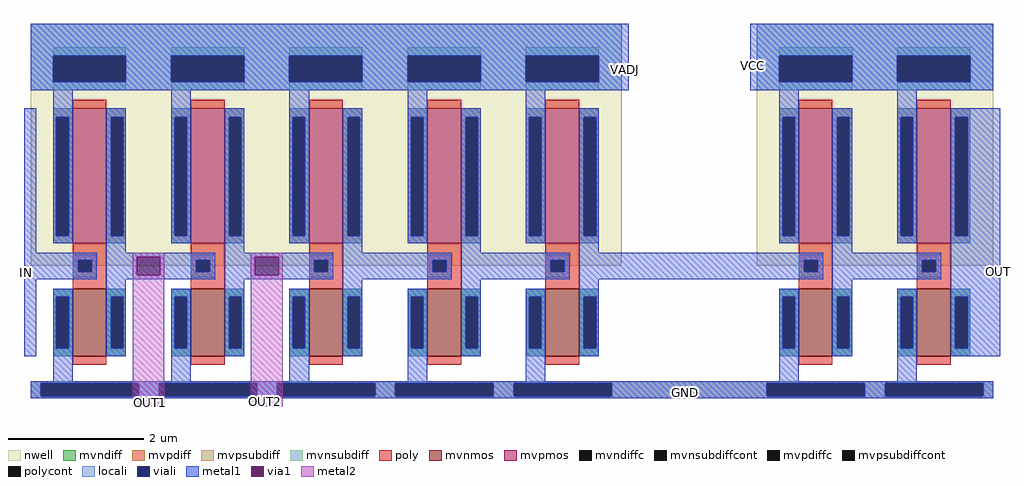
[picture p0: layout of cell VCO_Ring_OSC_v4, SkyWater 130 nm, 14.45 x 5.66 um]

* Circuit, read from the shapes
.subckt VCO_Ring_OSC_v4 GND IN OUT OUT1 OUT2 VADJ VCC
XM1 OUT1 IN GND GND sky130_fd_pr__nfet_g5v0d10v5 w=1 l=0.5
XM2 OUT2 OUT1 GND GND sky130_fd_pr__nfet_g5v0d10v5 w=1 l=0.5
XM3 inverter3v3_3/IN OUT2 GND GND sky130_fd_pr__nfet_g5v0d10v5 w=1 l=0.5
XM4 inverter3v3_4/IN inverter3v3_3/IN GND GND sky130_fd_pr__nfet_g5v0d10v5 w=1 l=0.5
XM5 inverter3v3_5/IN inverter3v3_4/IN GND GND sky130_fd_pr__nfet_g5v0d10v5 w=1 l=0.5
XM6 inverter3v3_6/IN inverter3v3_5/IN GND GND sky130_fd_pr__nfet_g5v0d10v5 w=1 l=0.5
XM7 OUT inverter3v3_6/IN GND GND sky130_fd_pr__nfet_g5v0d10v5 w=1 l=0.5
XM8 OUT1 IN VADJ VADJ sky130_fd_pr__pfet_g5v0d10v5 w=2 l=0.5
XM9 OUT2 OUT1 VADJ VADJ sky130_fd_pr__pfet_g5v0d10v5 w=2 l=0.5
XM10 inverter3v3_3/IN OUT2 VADJ VADJ sky130_fd_pr__pfet_g5v0d10v5 w=2 l=0.5
XM11 inverter3v3_4/IN inverter3v3_3/IN VADJ VADJ sky130_fd_pr__pfet_g5v0d10v5 w=2 l=0.5
XM12 inverter3v3_5/IN inverter3v3_4/IN VADJ VADJ sky130_fd_pr__pfet_g5v0d10v5 w=2 l=0.5
XM13 inverter3v3_6/IN inverter3v3_5/IN VCC VCC sky130_fd_pr__pfet_g5v0d10v5 w=2 l=0.5
XM14 OUT inverter3v3_6/IN VCC VCC sky130_fd_pr__pfet_g5v0d10v5 w=2 l=0.5
.ends

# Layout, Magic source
magic
tech sky130A
<< mvpsubdiff >>
rect 875 0 1075 25
<< locali >>
rect 875 0 1075 25
<< metal1 >>
rect 875 456 885 554
rect 1065 456 1075 554
rect -10 62 8 429
rect 875 176 1075 215
rect 1391 62 1435 429
rect 875 0 1075 25
<< via1 >>
rect 157 182 192 209
rect 332 182 367 209
<< metal2 >>
rect 151 209 198 215
rect 151 182 157 209
rect 192 182 198 209
rect 151 -12 198 182
rect 326 209 373 215
rect 326 182 332 209
rect 367 182 373 209
rect 326 -12 373 182
use inverter3v3  inverter3v3_3
transform 1 0 525 0 1 0
box 0 0 175 554
use inverter3v3  inverter3v3_2
transform 1 0 350 0 1 0
box 0 0 175 554
use inverter3v3  inverter3v3_1
transform 1 0 175 0 1 0
box 0 0 175 554
use inverter3v3  inverter3v3_0
transform 1 0 0 0 1 0
box 0 0 175 554
use inverter3v3  inverter3v3_4
transform 1 0 700 0 1 0
box 0 0 175 554
use inverter3v3  inverter3v3_5
transform 1 0 1075 0 1 0
box 0 0 175 554
use inverter3v3  inverter3v3_6
transform 1 0 1250 0 1 0
box 0 0 175 554
<< labels >>
rlabel metal1 1433 187 1433 187 7 OUT
rlabel metal1 969 8 969 8 1 GND
rlabel metal1 1069 492 1069 492 1 VCC
rlabel metal1 881 487 881 487 1 VADJ
rlabel metal2 178 -7 178 -7 1 OUT1
rlabel metal2 348 -5 348 -5 1 OUT2
rlabel metal1 -7 186 -7 186 3 IN
<< end >>

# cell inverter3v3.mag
magic
tech sky130A
<< nwell >>
rect 0 196 175 554
<< mvnmos >>
rect 62 62 112 162
<< mvpmos >>
rect 62 229 112 429
<< mvndiff >>
rect 33 150 62 162
rect 33 74 38 150
rect 56 74 62 150
rect 33 62 62 74
rect 112 150 141 162
rect 112 74 119 150
rect 137 74 141 150
rect 112 62 141 74
<< mvpdiff >>
rect 33 416 62 429
rect 33 240 38 416
rect 56 240 62 416
rect 33 229 62 240
rect 112 416 141 429
rect 112 240 119 416
rect 137 240 141 416
rect 112 229 141 240
<< mvndiffc >>
rect 38 74 56 150
rect 119 74 137 150
<< mvpdiffc >>
rect 38 240 56 416
rect 119 240 137 416
<< mvpsubdiff >>
rect 0 22 175 25
rect 0 3 15 22
rect 160 3 175 22
rect 0 0 175 3
<< mvnsubdiff >>
rect 33 507 141 519
rect 33 456 141 468
<< mvpsubdiffcont >>
rect 15 3 160 22
<< mvnsubdiffcont >>
rect 33 468 141 507
<< poly >>
rect 62 429 112 442
rect 62 204 112 229
rect 62 187 70 204
rect 90 187 112 204
rect 62 162 112 187
rect 62 49 112 62
<< polycont >>
rect 70 187 90 204
<< locali >>
rect 0 507 175 554
rect 0 468 33 507
rect 141 468 175 507
rect 0 456 175 468
rect 33 416 62 429
rect 33 240 38 416
rect 56 240 62 416
rect 33 229 62 240
rect 112 416 141 429
rect 112 240 119 416
rect 137 240 141 416
rect 112 229 141 240
rect 62 204 98 212
rect 62 187 70 204
rect 90 187 98 204
rect 62 179 98 187
rect 33 150 62 162
rect 33 74 38 150
rect 56 74 62 150
rect 33 62 62 74
rect 112 150 141 162
rect 112 74 119 150
rect 137 74 141 150
rect 112 62 141 74
rect 0 22 175 25
rect 0 3 15 22
rect 160 3 175 22
rect 0 0 175 3
<< viali >>
rect 33 468 141 507
rect 38 240 56 416
rect 119 240 137 416
rect 70 187 90 204
rect 38 74 56 150
rect 119 74 137 150
rect 15 3 160 22
<< metal1 >>
rect 0 507 175 554
rect 0 468 33 507
rect 141 468 175 507
rect 0 456 175 468
rect 33 416 62 456
rect 33 240 38 416
rect 56 240 62 416
rect 33 229 62 240
rect 112 416 141 429
rect 112 240 119 416
rect 137 240 141 416
rect 112 215 141 240
rect 0 204 98 215
rect 0 187 70 204
rect 90 187 98 204
rect 0 176 98 187
rect 112 176 175 215
rect 33 150 62 162
rect 33 74 38 150
rect 56 74 62 150
rect 33 25 62 74
rect 112 150 141 176
rect 112 74 119 150
rect 137 74 141 150
rect 112 62 141 74
rect 0 22 175 25
rect 0 3 15 22
rect 160 3 175 22
rect 0 0 175 3
<< labels >>
rlabel metal1 165 4 165 4 1 GND
rlabel metal1 85 543 85 543 1 VDD
rlabel metal1 8 185 8 185 1 IN
rlabel metal1 153 188 153 188 1 OUT
<< end >>
